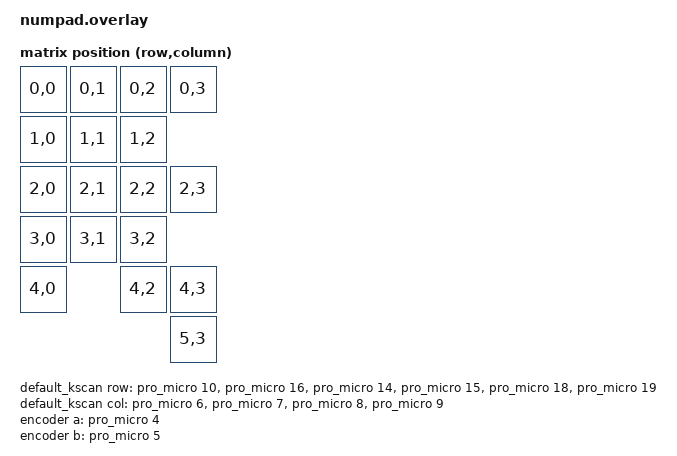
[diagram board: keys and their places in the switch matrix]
#include <dt-bindings/zmk/matrix_transform.h>

/ {
    default_kscan: kscan {
        compatible = "zmk,kscan-gpio-matrix";
        label = "default_kscan";
        diode-direction = "col2row";

        row-gpios = <&pro_micro 10 (GPIO_ACTIVE_HIGH | GPIO_PULL_DOWN)>,
                    <&pro_micro 16 (GPIO_ACTIVE_HIGH | GPIO_PULL_DOWN)>,
                    <&pro_micro 14 (GPIO_ACTIVE_HIGH | GPIO_PULL_DOWN)>,
                    <&pro_micro 15 (GPIO_ACTIVE_HIGH | GPIO_PULL_DOWN)>,
                    <&pro_micro 18 (GPIO_ACTIVE_HIGH | GPIO_PULL_DOWN)>,
                    <&pro_micro 19 (GPIO_ACTIVE_HIGH | GPIO_PULL_DOWN)>;

        col-gpios = <&pro_micro 6 (GPIO_ACTIVE_HIGH)>,
                    <&pro_micro 7 (GPIO_ACTIVE_HIGH)>,
                    <&pro_micro 8 (GPIO_ACTIVE_HIGH)>,
                    <&pro_micro 9 (GPIO_ACTIVE_HIGH)>;
        status = "okay";
    };

    default_transform: matrix_transform {
        compatible = "zmk,matrix-transform";
        rows = <6>;
        columns = <4>;
        map = <
            RC(0,0) RC(0,1) RC(0,2) RC(0,3)
            RC(1,0) RC(1,1) RC(1,2)
            RC(2,0) RC(2,1) RC(2,2) RC(2,3)
            RC(3,0) RC(3,1) RC(3,2)
            RC(4,0)         RC(4,2) RC(4,3)
                                    RC(5,3)
        >;
        status = "okay";
    };

    encoder: encoder {
        compatible = "alps,ec11";
        a-gpios = <&pro_micro 4 (GPIO_ACTIVE_LOW | GPIO_PULL_UP)>;
        b-gpios = <&pro_micro 5 (GPIO_ACTIVE_LOW | GPIO_PULL_UP)>;
        steps = <20>;
        status = "okay";
    };

    sensors: sensors {
        compatible = "zmk,keymap-sensors";
        sensors = <&encoder>;
        triggers-per-rotation = <4>;
        status = "okay";
    };

    /* --- Wake from sleep using a normal matrix switch (Method A: col2row, monitor column P0.06) --- */

    /* 1) A gpio-keys input that watches the *column* line on P0.06.
     *    Use pull-up + ACTIVE_LOW because in col2row a press pulls the column low.
     */
    wake_keys: gpio_keys {
        compatible = "gpio-keys";

        wake: wake_key {
            gpios = <&pro_micro 6 (GPIO_PULL_UP | GPIO_ACTIVE_LOW)>;
            label = "Matrix Wake (col P0.06)";
        };
        status = "okay";
    };

    /* 2) Mark that key as a wake source; bias the corresponding *row* low before sleep
     *    so the column actually sees a transition while kscan is off.
     *    Replace the ROW below if your chosen switch is on a different row.
     *    Here we bias ROW on pro_micro P0.10 as an example.
     */
    wake_trigger: gpio-key-wakeup-trigger {
        compatible = "zmk,gpio-key-wakeup-trigger";
        trigger = <&wake>;
        wakeup-source;
        /* If your chosen key’s row isn’t P0.10, change this line accordingly. */
        extra-gpios = <&pro_micro 10 GPIO_ACTIVE_LOW>;
        status = "okay";
    };

    /* 3) (Optional) Allow wake from *soft off* as well */
    softoff_ws: soft-off-wakeup-sources {
        compatible = "zmk,soft-off-wakeup-sources";
        wakeup-sources = <&wake_trigger>;
        status = "okay";
    };

    chosen {
        zmk,kscan = &default_kscan;
        /* zmk,matrix-transform = &default_transform; */
    };
};
